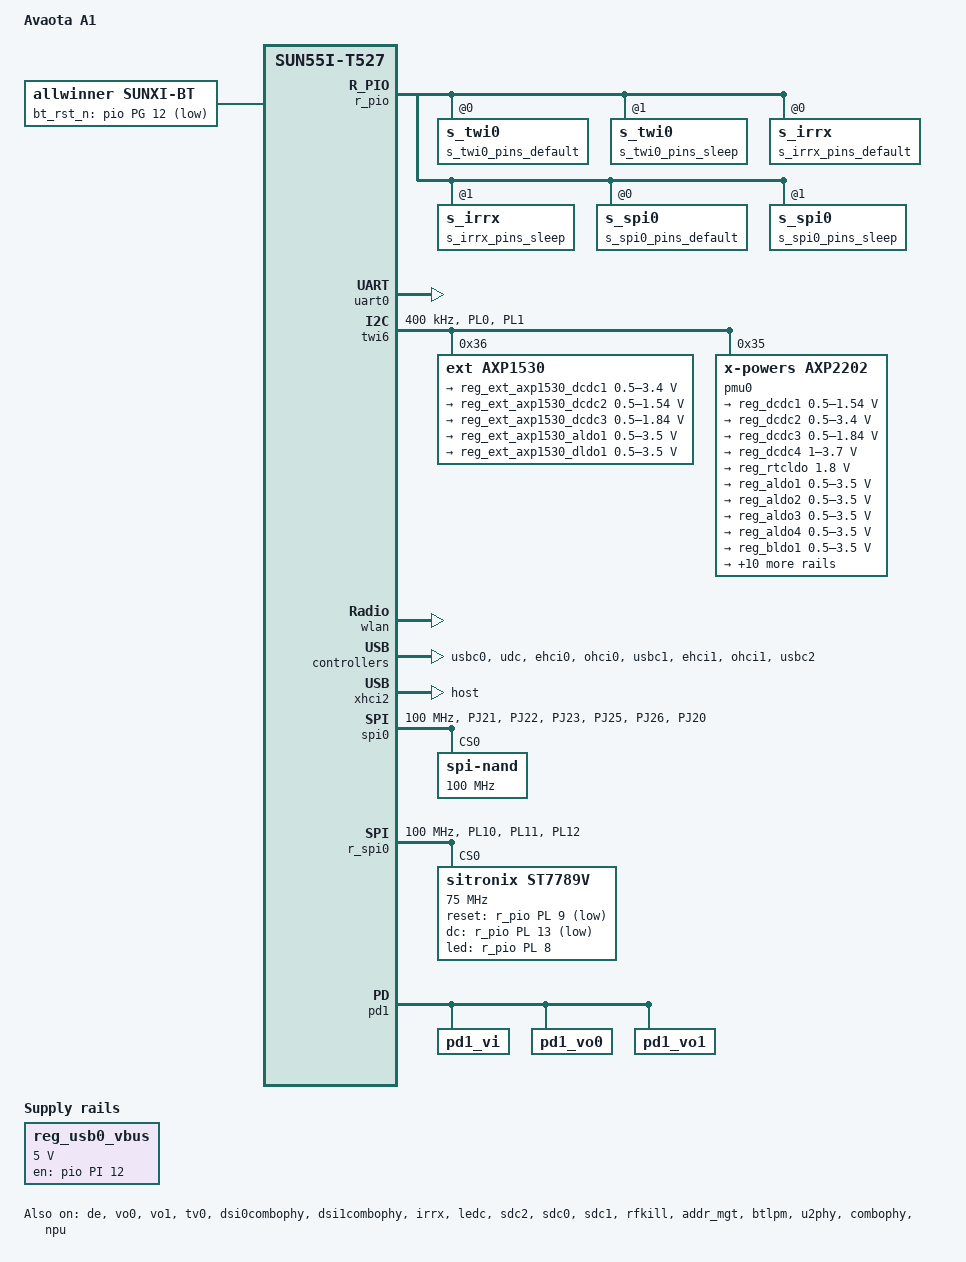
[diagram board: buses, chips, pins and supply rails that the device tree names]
/*
 * Allwinner Technology CO., Ltd.
 */

/dts-v1/;

#include "sun55i-t527.dtsi"
#include "sun55i-t527-gmac.dtsi"
#include "sun55i-t527-pwm.dtsi"
#include "sun55i-t527-vin.dtsi"
#include "sun55i-t527-disp.dtsi"
#include "sun55i-t527-com.dtsi"
#include "sun55i-t527-audio.dtsi"

/{
	model = "Avaota A1";
	board = "T527", "T527-AVAOTA-A1-AXP717B";
	compatible = "allwinner,t527", "arm,sun55iw3p1";

	aliases {
		pmu0 = &pmu0;
		serial0 = &uart0;
		hdmi = &hdmi;
		reg-axp1530 = &reg_ext_axp1530_dcdc1;
		axp1530 = &axp1530;
		cpu-ext = &cpu4;
		standby-param = &standby_param;
		arisc-config = &arisc_config;
		cir_param = &cir_param;
		spi3 = &r_spi0;
	};

	reg_usb0_vbus: usb0-vbus {
		compatible = "regulator-fixed";
		regulator-name = "usb0-vbus";
		regulator-min-microvolt = <5000000>;
		regulator-max-microvolt = <5000000>;
		regulator-enable-ramp-delay = <1000>;
		gpio = <&pio PI 12 GPIO_ACTIVE_HIGH>;
		enable-active-high;
	};

	standby_param: standby_param {
		vdd-cpu = <0x00000001>;
		vdd-cpub = <0x00000001>;
		vdd-sys = <0x00000002>;
		vcc-pll = <0x00000080>;
		vcc-io  = <0x00004000>;

		osc24m-on = <0x0>;
	};

	cir_param: cir_param {
		gpio_group = <1>;      /* 0:PL 1:PM */
		gpio_pin = <11>;
		gpio_function = <2>;
		count = <15>;
		ir_power_key_code0 = <0x40>;
		ir_addr_code0 = <0xfe01>;
		ir_power_key_code1 = <0x1a>;
		ir_addr_code1 = <0xfb04>;
		ir_power_key_code2 = <0xf2>;
		ir_addr_code2 = <0x2992>;
		ir_power_key_code3 = <0x57>;
		ir_addr_code3 = <0x9f00>;
		ir_power_key_code4 = <0xdc>;
		ir_addr_code4 = <0x4cb3>;
		ir_power_key_code5 = <0x18>;
		ir_addr_code5 = <0xff00>;
		ir_power_key_code6 = <0xdc>;
		ir_addr_code6 = <0xdd22>;
		ir_power_key_code7 = <0x0d>;
		ir_addr_code7 = <0xbc00>;
		ir_power_key_code8 = <0x4d>;
		ir_addr_code8 = <0x4040>;
		ir_power_key_code9 = <0x08>;
		ir_addr_code9 = <0xfb04>;
		ir_power_key_code10 = <0x00>;
		ir_addr_code10 = <0xfc03>;
		ir_power_key_code11 = <0x00>;
		ir_addr_code11 = <0xbf00>;
		ir_power_key_code12 = <0xea>;
		ir_addr_code12 = <0xfb04>;
		ir_power_key_code13 = <0x42>;
		ir_addr_code13 = <0xbf00>;
		ir_power_key_code14 = <0x0f>;
		ir_addr_code14 = <0xff00>;
	};

	arisc_config: arisc_config {
		s_uart_config {
			pins = "PL2", "PL3";
			function = <2>, <2>;
			status = "disabled";
		};
	};

	reserved-memory {
		dsp0ddr_reserved: dsp0ddr@4a000000 {
			reg = <0x0 0x4a000000 0x0 0x00a00000>;
			no-map;
		};

		riscvsram0_reserved: riscvsram0@7280000 {
			reg = <0x0 0x07280000 0x0 0x40000>;
			no-map;
		};

		riscvsram1_reserved: riscvsram1@72c0000 {
			reg = <0x0 0x072c0000 0x0 0x40000>;
			no-map;
		};

		/*
		* The name should be "vdev%dbuffer".
		* Its size should be not less than
		*     RPMSG_BUF_SIZE * (num of buffers in a vring) * 2
		*   = 512 * (num of buffers in a vring) * 2
		*/
		dsp_vdev0buffer: vdev0buffer@4ac00000 {
			compatible = "shared-dma-pool";
			reg = <0x0 0x4ac00000 0x0 0x40000>;
			no-map;
		};

		/*
		* The name should be "vdev%dvring%d".
		* The size of each should be not less than
		*     PAGE_ALIGN(vring_size(num, align))
		*   = PAGE_ALIGN(16 * num + 6 + 2 * num + (pads for align) + 6 + 8 * num)
		*
		* (Please refer to the vring layout in include/uapi/linux/virtio_ring.h)
		*/
		dsp_vdev0vring0: vdev0vring0@4ac40000 {
			reg = <0x0 0x4ac40000 0x0 0x2000>;
			no-map;
		};
		dsp_vdev0vring1: vdev0vring1@4ac42000 {
			reg = <0x0 0x4ac42000 0x0 0x2000>;
			no-map;
		};

		/*
		 * The name should be "vdev%dbuffer".
		 * Its size should be not less than
		 *     RPMSG_BUF_SIZE * (num of buffers in a vring) * 2
		 *   = 512 * (num of buffers in a vring) * 2
		 */
		rv_vdev0buffer: vdev0buffer@4ae00000 {
			compatible = "shared-dma-pool";
			reg = <0x0 0x4ae00000 0x0 0x40000>;
			no-map;
		};

		/*
		 * The name should be "vdev%dvring%d".
		 * The size of each should be not less than
		 *     PAGE_ALIGN(vring_size(num, align))
		 *   = PAGE_ALIGN(16 * num + 6 + 2 * num + (pads for align) + 6 + 8 * num)
		 *
		 * (Please refer to the vring layout in include/uapi/linux/virtio_ring.h)
		 */
		rv_vdev0vring0: vdev0vring0@4ae40000 {
			reg = <0x0 0x4ae40000 0x0 0x2000>;
			no-map;
		};
		rv_vdev0vring1: vdev0vring1@4ae42000 {
			reg = <0x0 0x4ae42000 0x0 0x2000>;
			no-map;
		};

		/*
		* mcu ram addr
		*/
		mcu0iram_reserved: mcu0iram@20000 {
			reg = <0x0 0x20000 0x0 0x10000>;
			no-map;
		};
		mcu0dram0_reserved: mcu0dram0@30000 {
			reg = <0x0 0x30000 0x0 0x8000>;
			no-map;
		};
		mcu0dram1_reserved: mcu0dram1@38000 {
			reg = <0x0 0x38000 0x0 0x8000>;
			no-map;
		};

		dsp0_rpbuf_reserved: dsp0_rpbuf@4ae44000 {
			compatible = "shared-dma-pool";
			no-map;
			reg = <0x0 0x4ae44000 0x0 0x8000>;
		};

		dsp_share_space@4ab00000 {
			no-map;
			reg = <0x0 0x4ab00000 0x0 0x10000>;
		};
	};

	rpbuf_controller0: rpbuf_controller@0 {
		compatible = "allwinner,rpbuf-controller";
		remoteproc = <&dsp0_rproc>;
		ctrl_id = <0>;
		memory-region = <&dsp0_rpbuf_reserved>;
		status = "okay";
	};

};

&de {
	chn_cfg_mode = <3>;
	status = "okay";
};

&vo0 {
	status = "okay";
};

&vo1 {
	status = "okay";
};

/* HDMI DRM */
&tv0 {
	status = "okay";
};

/* DP DRM */
&tv1 {
	status = "disabled";
};

&dsi0combophy {
	status = "okay";
};

&dsi1combophy {
	status = "okay";
};

&r_pio {
	s_twi0_pins_default: s_twi0@0 {
		pins = "PL0", "PL1";
		function = "s_twi0";
		drive-strength = <10>;
		bias-pull-up;
	};

	s_twi0_pins_sleep: s_twi0@1 {
		pins = "PL0", "PL1";
		function = "gpio_in";
	};

	s_irrx_pins_default: s_irrx@0 {
		pins = "PL11";
		function = "s_cir";
	};

	s_irrx_pins_sleep: s_irrx@1 {
		pins = "PL11";
		function = "gpio_in";
	};

	s_spi0_pins_default: s_spi0@0 {
		pins = "PL10", "PL11", "PL12";
		function = "s_spi0";
		drive-strength = <10>;
		bias-pull-up;
	};

	s_spi0_pins_sleep: s_spi0@1 {
		pins = "PL10", "PL11", "PL12";
        function = "gpio_in";
	};
};

&pio {
	vcc-pg-supply = <&reg_pio1_8>;
	vcc-pf-supply = <&reg_pio1_8>;
	vcc-pfo-supply = <&reg_pio3_3>;
	vcc-pd-supply = <&reg_dcdc4>;
	vcc-pe-supply = <&reg_pio1_8>;
	vcc-pi-supply = <&reg_dcdc4>;
	vcc-pj-supply = <&reg_dcdc4>;
	vcc-pk-supply = <&reg_dcdc4>;
	uart0_pins_a: uart0_pins@0 {
		pins = "", "";
		function = "uart0";
	};

	uart0_pins_b: uart0_pins@1 {
		pins = "", "";
		function = "gpio_in";
	};



	ledc_pins_a: ledc@0 {
		pins = "PH19";
		function = "ledc";
		drive-strength = <10>;
	};

	ledc_pins_b: ledc@1 {
		pins = "PH19";
		function = "gpio_in";
	};

	irrx_pins_default: irrx@0 {
		pins = "PI8";
		function = "cir";
	};

	irrx_pins_sleep: irrx@1 {
		pins = "PI8";
		function = "gpio_in";
	};

	irtx_pins_default: irtx@0 {
		pins = "PH18";
		function = "cir";
	};

	irtx_pins_sleep: irtx@1 {
		pins = "PH18";
		function = "gpio_in";
	};


	nand0_pins_default: nand0@0 {
		pins = "PC0", "PC1", "PC2", "PC5",
			 "PC8", "PC9", "PC10", "PC11",
			 "PC12", "PC13", "PC14", "PC15",
			 "PC16";
		function = "nand0";
		drive-strength = <30>;
	};

	nand0_pins_rb: nand0@1 {
		pins = "PC4", "PC6", "PC3", "PC7";
		function = "nand0";
		drive-strength = <30>;
		bias-pull-up;   /* only RB&CE should be pulled up */
	};

	nand0_pins_sleep: nand0@2 {
		pins = "PC0", "PC1", "PC2", "PC3",
			 "PC4", "PC5", "PC6", "PC7",
			 "PC8", "PC9", "PC10", "PC11",
			 "PC12", "PC13", "PC14", "PC15",
			 "PC16";
		function = "io_disabled";
		drive-strength = <10>;
	};


	spi0_pins_default: spi0@0 {
		pins = "PJ21", "PJ22", "PJ23", "PJ25", "PJ26";
		function = "spi0";
		drive-strength = <10>;
		bias-pull-up;
	};

	spi0_pins_cs: spi0@1 {
		pins = "PJ20";
		function = "spi0";
		drive-strength = <10>;
		bias-pull-up;
	};

	spi0_pins_sleep: spi0@2 {
		pins = "PJ20", "PJ21", "PJ22", "PJ23", "PJ25", "PJ26";
        function = "gpio_in";
	};
};

&soc {
	auto_print@54321 {
		reg = <0x0 0x54321 0x0 0x0>;
		device_type = "auto_print";
		status = "okay";
	};

	dsp0_rproc: dsp0_rproc@0 {
		mboxes = <&msgbox 4>;
		mbox-names = "arm-kick";
		memory-region = <&dsp0ddr_reserved>, <&dsp_vdev0buffer>, <&dsp_vdev0vring0>, <&dsp_vdev0vring1>,
				<&mcu0iram_reserved>, <&mcu0dram0_reserved>, <&mcu0dram1_reserved>;
		memory-mappings =
			/* < DA         len             PA >    */
			/* local SRAM via external bus */
			< 0x20000       0x20000         0x20000 >,
			/* local SRAM via internal bus */
			< 0x400000      0x10000         0x20000 >,
			< 0x420000      0x8000          0x30000 >,
			< 0x440000      0x8000          0x38000 >,
			/* DDR front 256MB */
			< 0x10000000    0x10000000      0x40000000 >,
			/* local SRAM via internal bus */
			< 0x20020000    0x10000         0x400000 >,
			< 0x20030000    0x8000          0x420000 >,
			< 0x20038000    0x8000          0x440000 >,

			/* DDR front 256MB */
			< 0x30000000    0x10000000      0x40000000 >,
			/* DDR front 1GB */
			< 0x40000000    0x40000000      0x40000000 >,
			/* DDR front 1GB */
			< 0x80000000    0x40000000      0x40000000 >,
			/* DDR front 1GB */
			< 0xC0000000    0x40000000      0x40000000 >;
		status = "okay";
	};

	e906_rproc: e906_rproc@7130000 {
		mboxes = <&msgbox 8>;
		mbox-names = "arm-kick";
		memory-region = <&riscvsram0_reserved>, <&riscvsram1_reserved>, <&rv_vdev0buffer>, <&rv_vdev0vring0>, <&rv_vdev0vring1>;
		memory-mappings =
			/* < DA		len		PA >	*/
			/* DSP RAM */
			< 0x20000	0x20000		0x20000 >,
			/* SRAM A2 */
			< 0x40000	0x24000		0x40000 >,
			/* DDR */
			< 0x8000000	0x37f00000	0x8000000 >,
			/* SRAM SPACE 0 */
			< 0x3ffc0000	0x40000		0x07280000 >,
			/* SRAM SPACE 1 */
			< 0x40000000	0x40000		0x072c0000 >,
			/* DRAM SPACE */
			< 0x40040000	0x3ffc0000	0x40040000>;
		status = "okay";
	};

};

&uart0 {
	pinctrl-names = "default", "sleep";
	pinctrl-0 = <&uart0_pins_a>;
	pinctrl-1 = <&uart0_pins_b>;
	uart-supply = <&reg_cldo3>;
	status = "okay";
};


&lradc {
	key_cnt = <5>;
	key0 = <210 0x73>;
	key1 = <410 0x72>;
	key2 = <590 0x8B>;
	key3 = <750 0x1c>;
	key4 = <880 0x66>;
	key_debounce;
	debounce_value = <50>;
	status = "disabled";
};

&irrx {
	pinctrl-names = "default", "sleep";
	pinctrl-0 = <&irrx_pins_default>;
	pinctrl-1 = <&irrx_pins_sleep>;
	status = "okay";
};

&s_irrx {
	pinctrl-names = "default", "sleep";
	pinctrl-0 = <&s_irrx_pins_default>;
	pinctrl-1 = <&s_irrx_pins_sleep>;
	status = "disabled";
};

&irtx {
	pinctrl-names = "default", "sleep";
	pinctrl-0 = <&irtx_pins_default>;
	pinctrl-1 = <&irtx_pins_sleep>;
	status = "disabled";
};

&gpadc0 {
	channel_num = <2>;
	channel_select = <3>;
	channel_data_select = <3>;
	channel_compare_select = <3>;
	channel_cld_select = <3>;
	channel_chd_select = <3>;
	channel0_compare_lowdata = <1700000>;
	channel0_compare_higdata = <1200000>;
	channel1_compare_lowdata = <460000>;
	channel1_compare_higdata = <1200000>;
	status = "disabled";
};

&gpadc1 {
	channel_num = <2>;
	channel_select = <3>;
	channel_data_select = <3>;
	channel_compare_select = <3>;
	channel_cld_select = <3>;
	channel_chd_select = <3>;
	channel0_compare_lowdata = <1700000>;
	channel0_compare_higdata = <1200000>;
	channel1_compare_lowdata = <460000>;
	channel1_compare_higdata = <1200000>;
	status = "disabled";
};


&ledc  {
	pinctrl-names = "default", "sleep";
	pinctrl-0 = <&ledc_pins_a>;
	pinctrl-1 = <&ledc_pins_b>;
	led_count = <4>;
	output_mode = "GRB";
	reset_ns = <84>;
	t1h_ns = <800>;
	t1l_ns = <320>;
	t0h_ns = <300>;
	t0l_ns = <800>;
	wait_time0_ns = <84>;
	wait_time1_ns = <84>;
	wait_data_time_ns = <600000>;
	status = "okay";
};

&csi_mclk3_pins_a {
	pins = "PK13";
	function = "ncsi";
};

&csi_mclk3_pins_b {
	pins = "PK13";
};

&mipib_4lane_pins_a {
   pins = "PK6", "PK7", "PK8", "PK9";
};

&mipib_4lane_pins_b {
   pins = "PK6", "PK7", "PK8", "PK9";
};

&twi6 {
	clock-frequency = <400000>;
	pinctrl-0 = <&s_twi0_pins_default>;
	pinctrl-1 = <&s_twi0_pins_sleep>;
	pinctrl-names = "default", "sleep";
	device_type = "twi6";
	/* For stability and backwards compatibility, we recommend setting ‘twi_drv_used’ to 1 */
	twi_drv_used = <1>;
	no_suspend = <1>;
	status = "okay";

	axp1530: axp1530@36{
		compatible = "ext,axp1530";
		status = "okay";
		reg = <0x36>;

		wakeup-source;

		regulators{
			reg_ext_axp1530_dcdc1: dcdc1 {
				regulator-name = "axp1530-dcdc1";
				regulator-min-microvolt = <500000>;
				regulator-max-microvolt = <3400000>;
				regulator-step-delay-us = <25>;
				regulator-final-delay-us = <50>;
				regulator-always-on;
			};

			reg_ext_axp1530_dcdc2: dcdc2 {
				regulator-name = "axp1530-dcdc2";
				regulator-min-microvolt = <500000>;
				regulator-max-microvolt = <1540000>;
				regulator-step-delay-us = <25>;
				regulator-final-delay-us = <50>;
				regulator-ramp-delay = <200>; /* FIXME */
				regulator-always-on;
			};

			reg_ext_axp1530_dcdc3: dcdc3 {
				regulator-name = "axp1530-dcdc3";
				regulator-min-microvolt = <500000>;
				regulator-max-microvolt = <1840000>;
				regulator-step-delay-us = <25>;
				regulator-final-delay-us = <50>;
				regulator-always-on;
			};

			reg_ext_axp1530_aldo1: ldo1 {
				regulator-name = "axp1530-aldo1";
				regulator-min-microvolt = <500000>;
				regulator-max-microvolt = <3500000>;
				regulator-step-delay-us = <25>;
				regulator-final-delay-us = <50>;
			};

			reg_ext_axp1530_dldo1: ldo2 {
				regulator-name = "axp1530-dldo1";
				regulator-min-microvolt = <500000>;
				regulator-max-microvolt = <3500000>;
				regulator-step-delay-us = <25>;
				regulator-final-delay-us = <50>;
			};
		};
		virtual-ext-dcdc1 {
			compatible = "xpower-vregulator,ext-dcdc1";
			dcdc1-supply = <&reg_ext_axp1530_dcdc1>;
		};
		virtual-ext-dcdc2 {
			compatible = "xpower-vregulator,ext-dcdc2";
			dcdc2-supply = <&reg_ext_axp1530_dcdc2>;
		};
		virtual-ext-dcdc3 {
			compatible = "xpower-vregulator,ext-dcdc3";
			dcdc3-supply = <&reg_ext_axp1530_dcdc3>;
		};
		virtual-ext-aldo1 {
			compatible = "xpower-vregulator,ext-aldo1";
			aldo1-supply = <&reg_ext_axp1530_aldo1>;
		};
		virtual-ext-dldo1 {
			compatible = "xpower-vregulator,ext-dldo1";
			dldo1-supply = <&reg_ext_axp1530_dldo1>;
		};

	};

	pmu0: pmu@35 {
		compatible = "x-powers,axp2202";
		reg = <0x35>;
		status = "okay";
		interrupts = <0 IRQ_TYPE_LEVEL_LOW>;
		interrupt-parent = <&nmi_intc>;
		x-powers,drive-vbus-en;
		pmu_reset = <0>;
		pmu_irq_wakeup = <1>;
		pmu_hot_shutdown = <1>;
		pmu_over_current = <1>;
		pmu_hot_shutdown_value = <125>;
		wakeup-source;

		usb_power_supply: usb_power_supply {
			compatible = "x-powers,axp2202-usb-power-supply";
			status = "okay";

			pmu_usbpc_vol = <4600>;
			pmu_usbpc_cur = <500>;
			pmu_usbad_vol = <4000>;
			pmu_usbad_cur = <2500>;
			pmu_usb_typec_used = <1>;
			wakeup_usb_in;
			wakeup_usb_out;

			det_acin_supply = <&gpio_power_supply>;
			pmu_acin_usbid_drv = <&pio PH 12 GPIO_ACTIVE_LOW>;
			pmu_vbus_det_gpio = <&pio PI 13 GPIO_ACTIVE_LOW>;
		};

		gpio_power_supply: gpio_power_supply {
			compatible = "x-powers,gpio-supply";
			status = "disabled";
			pmu_acin_det_gpio = <&pio PH 14 GPIO_ACTIVE_LOW>;
			det_usb_supply = <&usb_power_supply>;
		};

		bat_power_supply: bat-power-supply {
			compatible = "x-powers,axp2202-bat-power-supply";
			param = <&axp2202_parameter>;
			status = "disabled";

			pmu_chg_ic_temp = <0>;

			pmu_battery_rdc= <147>;
			pmu_battery_cap = <1771>;
			pmu_runtime_chgcur = <1000>;
			pmu_suspend_chgcur = <1500>;
			pmu_shutdown_chgcur = <1500>;
			pmu_init_chgvol = <4200>;
			pmu_battery_warning_level1 = <15>;
			pmu_battery_warning_level2 = <0>;
			pmu_chgled_func = <0>;
			pmu_chgled_type = <0>;
			pmu_bat_para1 = <0>;
			pmu_bat_para2 = <0>;
			pmu_bat_para3 = <0>;
			pmu_bat_para4 = <0>;
			pmu_bat_para5 = <0>;
			pmu_bat_para6 = <0>;
			pmu_bat_para7 = <2>;
			pmu_bat_para8 = <3>;
			pmu_bat_para9 = <4>;
			pmu_bat_para10 = <6>;
			pmu_bat_para11 = <9>;
			pmu_bat_para12 = <14>;
			pmu_bat_para13 = <26>;
			pmu_bat_para14 = <38>;
			pmu_bat_para15 = <49>;
			pmu_bat_para16 = <52>;
			pmu_bat_para17 = <56>;
			pmu_bat_para18 = <60>;
			pmu_bat_para19 = <64>;
			pmu_bat_para20 = <70>;
			pmu_bat_para21 = <77>;
			pmu_bat_para22 = <83>;
			pmu_bat_para23 = <87>;
			pmu_bat_para24 = <90>;
			pmu_bat_para25 = <95>;
			pmu_bat_para26 = <99>;
			pmu_bat_para27 = <99>;
			pmu_bat_para28 = <100>;
			pmu_bat_para29 = <100>;
			pmu_bat_para30 = <100>;
			pmu_bat_para31 = <100>;
			pmu_bat_para32 = <100>;

			pmu_bat_temp_enable = <1>;
			pmu_jetia_en        = <1>;
			pmu_bat_charge_ltf = <1738>; //-5
			pmu_bat_charge_htf = <150>; //60
			pmu_bat_shutdown_ltf = <2125>; //-10
			pmu_bat_shutdown_htf = <130>; //65
			pmu_jetia_cool = <1390>; //0
			pmu_jetia_warm = <206>; //50
			pmu_jcool_ifall = <2>;//75%
			pmu_jwarm_ifall = <2>;//75%
			pmu_bat_temp_para1 = <4592>; //SDNT-25
			pmu_bat_temp_para2 = <2781>; //-15
			pmu_bat_temp_para3 = <2125>; //-10
			pmu_bat_temp_para4 = <1738>; //-5
			pmu_bat_temp_para5 = <1390>;//0
			pmu_bat_temp_para6 = <1118>; //5
			pmu_bat_temp_para7 = <906>; //10
			pmu_bat_temp_para8 = <606>; //20
			pmu_bat_temp_para9 = <415>; //30
			pmu_bat_temp_para10 = <290>; //40
			pmu_bat_temp_para11 = <244>; //45
			pmu_bat_temp_para12 = <206>; //50
			pmu_bat_temp_para13 = <175>; //55
			pmu_bat_temp_para14 = <150>; //60
			pmu_bat_temp_para15 = <110>; //70
			pmu_bat_temp_para16 = <83>; //80

			wakeup_bat_out;
			/* wakeup_bat_in; */
			/* wakeup_bat_charging; */
			/* wakeup_bat_charge_over; */
			/* wakeup_low_warning1; */
			/* wakeup_low_warning2; */
			/* wakeup_bat_untemp_work; */
			/* wakeup_bat_ovtemp_work; */
			/* wakeup_bat_untemp_chg; */
			/* wakeup_bat_ovtemp_chg; */
		};

		powerkey0: powerkey@0 {
			status = "okay";
			compatible = "x-powers,axp2101-pek";
			pmu_powkey_off_time = <6000>;
			pmu_powkey_off_func = <0>;
			pmu_powkey_off_en = <1>;
			pmu_powkey_long_time = <1500>;
			pmu_powkey_on_time = <2000>;
			wakeup_rising;
			wakeup_falling;
		};

		regulator0: regulators@0 {
			reg_dcdc1: dcdc1 {
				regulator-name = "axp2202-dcdc1";
				regulator-min-microvolt = <500000>;
				regulator-max-microvolt = <1540000>;
				regulator-ramp-delay = <250>;
				regulator-enable-ramp-delay = <1000>;
				regulator-boot-on;
				regulator-always-on;
			};
			reg_dcdc2: dcdc2 {
				regulator-name = "axp2202-dcdc2";
				regulator-min-microvolt = <500000>;
				regulator-max-microvolt = <3400000>;
				regulator-ramp-delay = <250>;
				regulator-enable-ramp-delay = <1000>;
				regulator-boot-on;
				regulator-always-on;
			};
			reg_dcdc3: dcdc3 {
				regulator-name = "axp2202-dcdc3";
				regulator-min-microvolt = <500000>;
				regulator-max-microvolt = <1840000>;
				regulator-ramp-delay = <250>;
				regulator-enable-ramp-delay = <1000>;
				regulator-always-on;
			};
			reg_dcdc4: dcdc4 {
				regulator-name = "axp2202-dcdc4";
				regulator-min-microvolt = <1000000>;
				regulator-max-microvolt = <3700000>;
				regulator-ramp-delay = <250>;
				regulator-enable-ramp-delay = <1000>;
			};
			reg_rtcldo: rtcldo {
				/* RTC_LDO is a fixed, always-on regulator */
				regulator-name = "axp2202-rtcldo";
				regulator-min-microvolt = <1800000>;
				regulator-max-microvolt = <1800000>;
				regulator-boot-on;
				regulator-always-on;
			};
			reg_aldo1: aldo1 {
				regulator-name = "axp2202-aldo1";
				regulator-min-microvolt = <500000>;
				regulator-max-microvolt = <3500000>;
				regulator-enable-ramp-delay = <1000>;
			};
			reg_aldo2: aldo2 {
				regulator-name = "axp2202-aldo2";
				regulator-min-microvolt = <500000>;
				regulator-max-microvolt = <3500000>;
				regulator-enable-ramp-delay = <1000>;
			};
			reg_aldo3: aldo3 {
				regulator-name = "axp2202-aldo3";
				regulator-min-microvolt = <500000>;
				regulator-max-microvolt = <3500000>;
				regulator-enable-ramp-delay = <1000>;
				regulator-always-on;
				regulator-boot-on;
			};
			reg_aldo4: aldo4 {
				regulator-name = "axp2202-aldo4";
				regulator-min-microvolt = <500000>;
				regulator-max-microvolt = <3500000>;
				regulator-enable-ramp-delay = <1000>;
				regulator-always-on;
				regulator-boot-on;
			};
			reg_bldo1: bldo1 {
				regulator-name = "axp2202-bldo1";
				regulator-min-microvolt = <500000>;
				regulator-max-microvolt = <3500000>;
				regulator-enable-ramp-delay = <1000>;
				regulator-always-on;
				regulator-boot-on;
			};
			reg_bldo2: bldo2 {
				regulator-name = "axp2202-bldo2";
				regulator-min-microvolt = <500000>;
				regulator-max-microvolt = <3500000>;
				regulator-enable-ramp-delay = <1000>;
				regulator-boot-on;
				regulator-always-on;
			};
			reg_bldo3: bldo3 {
				regulator-name = "axp2202-bldo3";
				regulator-min-microvolt = <500000>;
				regulator-max-microvolt = <3500000>;
				regulator-enable-ramp-delay = <1000>;
			};
			reg_bldo4: bldo4 {
				regulator-name = "axp2202-bldo4";
				regulator-min-microvolt = <500000>;
				regulator-max-microvolt = <3500000>;
				regulator-enable-ramp-delay = <1000>;
			};
			reg_cldo1: cldo1 {
				regulator-name = "axp2202-cldo1";
				regulator-min-microvolt = <500000>;
				regulator-max-microvolt = <3500000>;
				regulator-enable-ramp-delay = <1000>;
			};
			reg_cldo2: cldo2 {
				regulator-name = "axp2202-cldo2";
				regulator-min-microvolt = <500000>;
				regulator-max-microvolt = <3500000>;
				regulator-enable-ramp-delay = <1000>;
			};
			reg_cldo3: cldo3 {
				regulator-name = "axp2202-cldo3";
				regulator-min-microvolt = <500000>;
				regulator-max-microvolt = <3500000>;
				regulator-ramp-delay = <2500>;
				regulator-enable-ramp-delay = <1000>;
				regulator-boot-on;
				regulator-always-on;
			};
			reg_cldo4: cldo4 {
				regulator-name = "axp2202-cldo4";
				regulator-min-microvolt = <500000>;
				regulator-max-microvolt = <3500000>;
				regulator-enable-ramp-delay = <1000>;
			};
			reg_cpusldo: cpusldo {
				/* cpus */
				regulator-name = "axp2202-cpusldo";
				regulator-min-microvolt = <500000>;
				regulator-max-microvolt = <1400000>;
				regulator-boot-on;
				regulator-always-on;
			};
			reg_vmid: vmid {
				regulator-name = "axp2202-vmid";
				regulator-enable-ramp-delay = <1000>;
			};
			reg_drivevbus: drivevbus {
				regulator-name = "axp2202-drivevbus";
				regulator-enable-ramp-delay = <1000>;
				drivevbusin-supply = <&reg_vmid>;
			};
		};

		virtual-dcdc1 {
			compatible = "xpower-vregulator,dcdc1";
			dcdc1-supply = <&reg_dcdc1>;
		};
		virtual-dcdc2 {
			compatible = "xpower-vregulator,dcdc2";
			dcdc2-supply = <&reg_dcdc2>;
		};
		virtual-dcdc3 {
			compatible = "xpower-vregulator,dcdc3";
			dcdc3-supply = <&reg_dcdc3>;
		};
		virtual-dcdc4 {
			compatible = "xpower-vregulator,dcdc4";
			dcdc4-supply = <&reg_dcdc4>;
		};
		virtual-rtcldo {
			compatible = "xpower-vregulator,rtcldo";
			rtcldo-supply = <&reg_rtcldo>;
		};
		virtual-aldo1 {
			compatible = "xpower-vregulator,aldo1";
			aldo1-supply = <&reg_aldo1>;
		};
		virtual-aldo2 {
			compatible = "xpower-vregulator,aldo2";
			aldo2-supply = <&reg_aldo2>;
		};
		virtual-aldo3 {
			compatible = "xpower-vregulator,aldo3";
			aldo3-supply = <&reg_aldo3>;
		};
		virtual-aldo4 {
			compatible = "xpower-vregulator,aldo4";
			aldo4-supply = <&reg_aldo4>;
		};
		virtual-bldo1 {
			compatible = "xpower-vregulator,bldo1";
			bldo1-supply = <&reg_bldo1>;
		};
		virtual-bldo2 {
			compatible = "xpower-vregulator,bldo2";
			bldo2-supply = <&reg_bldo2>;
		};
		virtual-bldo3 {
			compatible = "xpower-vregulator,bldo3";
			bldo3-supply = <&reg_bldo3>;
		};
		virtual-bldo4 {
			compatible = "xpower-vregulator,bldo4";
			bldo4-supply = <&reg_bldo4>;
		};
		virtual-cldo1 {
			compatible = "xpower-vregulator,cldo1";
			cldo1-supply = <&reg_cldo1>;
		};
		virtual-cldo2 {
			compatible = "xpower-vregulator,cldo2";
			cldo2-supply = <&reg_cldo2>;
		};
		virtual-cldo3 {
			compatible = "xpower-vregulator,cldo3";
			cldo3-supply = <&reg_cldo3>;
		};
		virtual-cldo4 {
			compatible = "xpower-vregulator,cldo4";
			cldo4-supply = <&reg_cldo4>;
		};
		virtual-cpusldo {
			compatible = "xpower-vregulator,cpusldo";
			cpusldo-supply = <&reg_cpusldo>;
		};
		virtual-drivevbus {
			compatible = "xpower-vregulator,drivevbus";
			drivevbus-supply = <&reg_drivevbus>;
		};
		axp_gpio0: axp_gpio@0 {
			gpio-controller;
			#size-cells = <0>;
			#gpio-cells = <6>;
			status = "okay";
		};
	};
};

/{
	axp2202_parameter:axp2202-parameter {
		select = "battery-model";

		battery-model {
			parameter = /bits/ 8 <0x01 0xf5 0x40 0x00 0x1b 0x1e 0x28 0x0f
				0x0c 0x1e 0x32 0x02 0x14 0x05 0x0a 0x04
				0x74 0xfb 0xc8 0x0d 0x43 0x10 0x36 0xfb
				0x46 0x01 0xea 0x0d 0x2a 0x06 0x36 0x05
				0xf4 0x0a 0xb5 0x0f 0x42 0x0e 0xe6 0x09
				0x9a 0x0e 0x42 0x0e 0x3b 0x04 0x2d 0x04
				0x23 0x09 0x18 0x0e 0x09 0x0e 0x04 0x08
				0xf7 0x0d 0xda 0x0d 0xd0 0x03 0xbb 0x03
				0x9d 0x08 0x7f 0x0d 0x6a 0x0d 0x55 0x07
				0xc2 0x57 0x2b 0x27 0x1e 0x0d 0x14 0x08
				0xc5 0x98 0x7e 0x66 0x4e 0x44 0x38 0x1a
				0x12 0x0a 0xf6 0x00 0x00 0xf6 0x00 0xf6
				0x00 0xfb 0x00 0x00 0xfb 0x00 0x00 0xfb
				0x00 0x00 0xf6 0x00 0x00 0xf6 0x00 0xf6
				0x00 0xfb 0x00 0x00 0xfb 0x00 0x00 0xfb
				0x00 0x00 0xf6 0x00 0x00 0xf6 0x00 0xf6>;
		};
	};
};


&sdc2 {
	non-removable;
	bus-width = <8>;
	mmc-ddr-1_8v;
	mmc-hs200-1_8v;
	mmc-hs400-1_8v;
	no-sdio;
	no-sd;
	ctl-spec-caps = <0x308>;
	cap-mmc-highspeed;
	sunxi-power-save-mode;
	sunxi-dis-signal-vol-sw;
	mmc-bootpart-noacc;
	/*cap-hsq;*/
	cqe-on;
	ctl-cmdq-md = <0x2>;
	max-frequency = <150000000>;
	vmmc-supply = <&reg_cldo3>;
	/*emmc io vol 3.3v*/
	/*vqmmc-supply = <&reg_aldo1>;*/
	/*emmc io vol 1.8v*/
	vqmmc-supply = <&reg_cldo1>;
	status = "okay";
};

&sdc0 {
	bus-width = <4>;
	cd-gpios = <&pio PF 6 (GPIO_ACTIVE_LOW | GPIO_PULL_UP)>;
	/*non-removable;*/
	/*broken-cd;*/
	/*cd-inverted;*/
	/*data3-detect;*/
	/*card-pwr-gpios = <&pio PH 14 1 1 2 0xffffffff>;*/
	cd-set-debounce = <0x1>;
	cd-used-24M;
	cap-sd-highspeed;
	sd-uhs-sdr50;
	sd-uhs-ddr50;
	sd-uhs-sdr104;
	no-sdio;
	no-mmc;
	sunxi-power-save-mode;
	/*sunxi-dis-signal-vol-sw;*/
	max-frequency = <150000000>;
	ctl-spec-caps = <0x408>;
	sunxi-dly-208M  = <0xff 1 0xff 0xff 0xff 0xff>;
	/*vmmc-supply = <&reg_cldo3>;*/
	/*vqmmc33sw-supply = <&reg_cldo3>;*/
	/*vdmmc33sw-supply = <&reg_cldo3>;*/
	/*vqmmc18sw-supply = <&reg_bldo1>;*/
	/*vdmmc18sw-supply = <&reg_bldo1>;*/
	status = "okay";
};

&sdc1 {
	bus-width = <4>;
	no-mmc;
	no-sd;
	cap-sd-highspeed;
	/*sd-uhs-sdr12*/
	sd-uhs-sdr25;
	sd-uhs-sdr50;
	sd-uhs-ddr50;
	sd-uhs-sdr104;
	/*sunxi-power-save-mode;*/
	sunxi-dis-signal-vol-sw;
	cap-sdio-irq;
	keep-power-in-suspend;
	ignore-pm-notify;
	max-frequency = <150000000>;
	ctl-spec-caps = <0x408>;
	status = "okay";
};

&rfkill {
	compatible = "allwinner,sunxi-rfkill";
	chip_en;
	power_en;
	pinctrl-0;
	pinctrl-names;
	status = "okay";

	/* wlan session */
	wlan {
		compatible    = "allwinner,sunxi-wlan";
		clocks;
		clock-names;
		wlan_power    = "axp2202-aldo3", "axp2202-bldo1"; /* vcc-pl/vcc-pg/vcc-pm */
		wlan_power_vol= <3300000>, <1800000>;
		wlan_busnum   = <0x1>;
		wlan_regon    = <&pio PG 13 GPIO_ACTIVE_HIGH>;
		wlan_hostwake = <&pio PG 14 GPIO_ACTIVE_HIGH>;
		wakeup-source;
	};

	/* bt session */
	bt {
		compatible    = "allwinner,sunxi-bt";
		clocks;
		clock-names;
		bt_power      = "axp2202-aldo3", "axp2202-bldo1"; /* vcc-pl/vcc-pg/vcc-pm */
		bt_power_vol  = <3300000>, <1800000>;
		bt_rst_n      = <&pio PG 12 GPIO_ACTIVE_LOW>;
	};
};

&addr_mgt {
	compatible     = "allwinner,sunxi-addr_mgt";
	type_addr_wifi = <0x0>;
	type_addr_bt   = <0x0>;
	type_addr_eth  = <0x0>;
	status         = "okay";
};

&btlpm {
	compatible  = "allwinner,sunxi-btlpm";
	uart_index  = <0x1>;
	bt_wake     = <&pio PG 11 GPIO_ACTIVE_HIGH>;
	bt_hostwake = <&pio PG 10 GPIO_ACTIVE_HIGH>;
	wakeup-source;
	status      = "okay";
};

/*
 *usb_port_type: usb mode. 0-device, 1-host, 2-otg.
 *usb_detect_type: usb hotplug detect mode. 0-none, 1-vbus/id detect, 2-id/dpdm detect.
 *usb_detect_mode: 0-thread scan, 1-id gpio interrupt.
 *usb_id_gpio: gpio for id detect.
 *usb_det_vbus_gpio: gpio for id detect. gpio or "axp_ctrl";
 *usb_wakeup_suspend：0-SUPER_STANDBY, 1-USB_STANDBY.
 */
&usbc0 {
	device_type = "usbc0";
	usb_port_type = <0x2>;
	usb_detect_type = <0x1>;
	usb_detect_mode = <0x0>;
	usb_id_gpio = <>;
	usb_det_vbus_gpio = <&pio PI 13 GPIO_ACTIVE_HIGH>;
	enable-active-high;
	detvbus_io-supply = <&reg_bldo1>;
	usb_regulator_io = "nocare";
	usb_wakeup_suspend = <0>;
	usb_luns = <3>;
	usb_serial_unique = <0>;
	usb_serial_number = "20080411";
	rndis_wceis = <1>;
	status = "okay";
};

&udc {
	det_vbus_supply = <&usb_power_supply>;
	phy_range = <0x153>;
	status = "okay";
};

&ehci0 {
	drvvbus-supply = <&reg_usb0_vbus>;
	phy_range = <0x153>;
	status = "okay";
};

&ohci0 {
	drvvbus-supply = <&reg_usb0_vbus>;
	phy_range = <0x153>;
	status = "okay";
};

&usbc1 {
	device_type = "usbc1";
	usb_regulator_io = "nocare";
	usb_wakeup_suspend = <0>;
	status = "okay";
};

&ehci1 {
	phy_range = <0x153>;
	status = "okay";
};

&ohci1 {
	phy_range = <0x153>;
	status = "okay";
};

&usbc2 {
	device_type = "usbc2";
	status = "okay";
};

&xhci2 {
	dr_mode = "host";
	status = "okay";
};

&u2phy {
	status = "okay";
};

&combophy {
	resets = <&ccu RST_BUS_PCIE_USB3>;
	phy_use_sel = <1>; /* 0:PCIE; 1:USB3 */
	status = "okay";
};

&gpu {
	gpu_idle = <1>;
	dvfs_status = <1>;
	mali-supply = <&reg_dcdc2>;
};

&spi0 {
	clock-frequency = <100000000>;
	pinctrl-0 = <&spi0_pins_default &spi0_pins_cs>;
	pinctrl-1 = <&spi0_pins_sleep>;
	pinctrl-names = "default", "sleep";
	sunxi,spi-num-cs = <1>;
	sunxi,spi-bus-mode = <SUNXI_SPI_BUS_NOR>;
	sunxi,spi-cs-mode = <SUNXI_SPI_CS_SOFT>;
	status = "okay";

	spi-nand@0 {
		compatible = "spi-nand";
		spi-max-frequency=<100000000>;
		reg = <0x0>;
		spi-rx-bus-width=<0x04>;
		spi-tx-bus-width=<0x04>;
		status="okay";
	};
};

&r_spi0 {
    pinctrl-0 = <&s_spi0_pins_default>;
    pinctrl-1 = <&s_spi0_pins_sleep>;
    pinctrl-names = "default", "sleep";
    sunxi,spi-bus-mode = <SUNXI_SPI_BUS_MASTER>;
    sunxi,spi-cs-mode = <SUNXI_SPI_CS_AUTO>;
	clock-frequency = <100000000>;
    status = "okay";

    st7789v@0 {
        status = "okay";
        compatible = "sitronix,st7789v";
        reg = <0>;
        spi-max-frequency = <75000000>;
        rotate = <90>;
        rgb;
        fps = <30>;
        buswidth = <8>;
        reset = <&r_pio PL 9 GPIO_ACTIVE_LOW>;
        dc = <&r_pio PL 13 GPIO_ACTIVE_LOW>;
		led = <&r_pio PL 8 GPIO_ACTIVE_HIGH>;
        debug = <1>;
    };
};



&ve {
	ve-supply = <&reg_dcdc2>;

	enable_setup_ve_freq       = <0>;   /* default disable */
	ve_freq_value              = <624>; /* setup to 624MHz */
};


&cpu0 {
	cpu-supply = <&reg_dcdc1>;
};

&dsufreq {
	dsu-supply = <&reg_dcdc1>;
};

&npu {
	npu-supply = <&reg_ext_axp1530_dcdc3>;
	status = "okay";
};


&cpul_thermal_zone {
	cpul_trips: trips {
		cpul_crit: cpu_crit@0 {
			temperature = <115000>;
			type = "critical";
			hysteresis = <0>;
		};
	};
};

&cpub_thermal_zone {
	cpub_trips: trips {
		cpub_crit: cpu_crit@0 {
			temperature = <115000>;
			type = "critical";
			hysteresis = <0>;
		};
	};
};

&gpu_thermal_zone {
	gpu_trips: trips {
		gpu_crit: gpu_crit@0 {
			temperature = <115000>;
			type = "critical";
			hysteresis = <0>;
		};
	};
};

&pd1 {
	/* pk */
	pd1_vi@A523_PCK_VI {
		ppu-always-on;
	};

	/* pd */
	pd1_vo0@A523_PCK_VO0 {
		ppu-always-on;
	};

	/* pj */
	pd1_vo1@A523_PCK_VO1 {
		ppu-always-on;
	};
};



